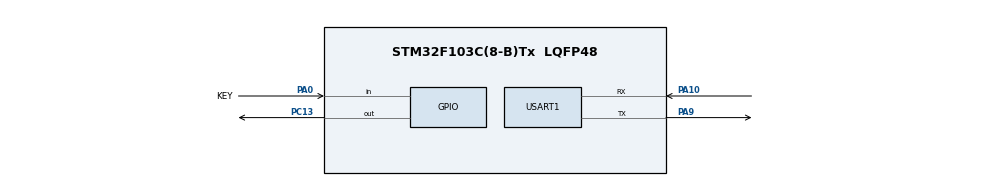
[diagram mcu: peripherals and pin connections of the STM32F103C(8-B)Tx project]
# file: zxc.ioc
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Mcu.Family=STM32F1
Mcu.Name=STM32F103C(8-B)Tx
Mcu.Package=LQFP48
NVIC.PriorityGroup=NVIC_PRIORITYGROUP_4
PA0-WKUP.GPIO_Label=KEY
PA0-WKUP.GPIO_PuPd=GPIO_PULLUP
PA0-WKUP.Signal=GPIO_Input
PA10.Mode=Asynchronous
PA10.Signal=USART1_RX
PA13.Mode=Serial_Wire
PA13.Signal=SYS_JTMS-SWDIO
PA14.Mode=Serial_Wire
PA14.Signal=SYS_JTCK-SWCLK
PA9.Mode=Asynchronous
PA9.Signal=USART1_TX
PC13-TAMPER-RTC.GPIO_Speed=GPIO_SPEED_FREQ_LOW
PC13-TAMPER-RTC.PinState=GPIO_PIN_SET
PC13-TAMPER-RTC.Signal=GPIO_Output
PD0-OSC_IN.Mode=HSE-External-Oscillator
PD0-OSC_IN.Signal=RCC_OSC_IN
PD1-OSC_OUT.Mode=HSE-External-Oscillator
PD1-OSC_OUT.Signal=RCC_OSC_OUT
ProjectManager.HeapSize=0x200
ProjectManager.StackSize=0x400
ProjectManager.TargetToolchain=STM32CubeIDE
RCC.APB1Freq_Value=8000000
RCC.APB2Freq_Value=8000000
USART1.VirtualMode=VM_ASYNC
board=custom

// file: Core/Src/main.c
/* USER CODE BEGIN Header */
/**
  ******************************************************************************
  * @file           : main.c
  * @brief          : Main program body
  ******************************************************************************
  * @attention
  *
  * Copyright (c) 2026 STMicroelectronics.
  * All rights reserved.
  *
  * This software is licensed under terms that can be found in the LICENSE file
  * in the root directory of this software component.
  * If no LICENSE file comes with this software, it is provided AS-IS.
  *
  ******************************************************************************
  */
/* USER CODE END Header */
#include "main.h"

/* USER CODE BEGIN Includes */
#include "log.h"
#include <stdio.h>
/* USER CODE END Includes */

UART_HandleTypeDef huart1;

void SystemClock_Config(void);
static void MX_GPIO_Init(void);
static void MX_USART1_UART_Init(void);

/* USER CODE BEGIN 0 */
/* LED 三档模式：0=常亮，1=慢闪，2=快闪 */
#define LED_MODE_ON   0
#define LED_MODE_SLOW 1
#define LED_MODE_FAST 2

#define SLOW_PERIOD 1000u   /* 慢闪：1 秒翻转一次 */
#define FAST_PERIOD 200u    /* 快闪：200 毫秒翻转一次 */

#define DEBOUNCE_MS 20u     /* 按键去抖窗口：电平稳定多久才认 */

/*
 * 两颗灯同时控制，方便对照观察：
 *   外接 LED：PA4 -- 68 欧电阻 -- LED 正极(长脚)，LED 负极(短脚) -- GND
 *             PA4 输出高电平 -> 点亮
 *   板载 LED：PC13，低电平点亮（板子上 PC13 和 LED 之间是灌电流接法）
 *             所以两颗灯的电平逻辑正好相反
 */
#define LED_A_PORT   GPIOA
#define LED_A_PIN    GPIO_PIN_4    /* 外接 LED，高电平亮 */

#define LED_B_PORT   GPIOC
#define LED_B_PIN    GPIO_PIN_13   /* 板载 LED，低电平亮 */

static uint8_t  led_mode      = LED_MODE_ON;
static uint32_t led_last_tick = 0;

/* PA4 在 .ioc 里没配，这里手动初始化成推挽输出；PC13 已由 MX_GPIO_Init 配好 */
static void LED_GPIO_Init(void)
{
    GPIO_InitTypeDef GPIO_InitStruct = {0};

    __HAL_RCC_GPIOA_CLK_ENABLE();

    GPIO_InitStruct.Pin   = LED_A_PIN;
    GPIO_InitStruct.Mode  = GPIO_MODE_OUTPUT_PP;
    GPIO_InitStruct.Pull  = GPIO_NOPULL;
    GPIO_InitStruct.Speed = GPIO_SPEED_FREQ_LOW;
    HAL_GPIO_Init(LED_A_PORT, &GPIO_InitStruct);

    /* 上电先都熄灭 */
    HAL_GPIO_WritePin(LED_A_PORT, LED_A_PIN, GPIO_PIN_RESET);
    HAL_GPIO_WritePin(LED_B_PORT, LED_B_PIN, GPIO_PIN_SET);
}

static void LED_On(void)
{
    HAL_GPIO_WritePin(LED_A_PORT, LED_A_PIN, GPIO_PIN_SET);    /* 外接：高电平亮 */
    HAL_GPIO_WritePin(LED_B_PORT, LED_B_PIN, GPIO_PIN_RESET);  /* 板载：低电平亮 */
}

static void LED_Off(void)
{
    HAL_GPIO_WritePin(LED_A_PORT, LED_A_PIN, GPIO_PIN_RESET);
    HAL_GPIO_WritePin(LED_B_PORT, LED_B_PIN, GPIO_PIN_SET);
}

static void LED_Toggle(void)
{
    HAL_GPIO_TogglePin(LED_A_PORT, LED_A_PIN);
    HAL_GPIO_TogglePin(LED_B_PORT, LED_B_PIN);
}

static void LED_Apply(void)
{
    /* 常亮档：保持点亮 */
    if (led_mode == LED_MODE_ON)
        LED_On();
}

static uint32_t LED_Period(void)
{
    return (led_mode == LED_MODE_FAST) ? FAST_PERIOD : SLOW_PERIOD;
}

/* 切换档位后调用：常亮档直接点亮，闪烁档交给主循环翻转 */
static void LED_EnterMode(void)
{
    led_last_tick = HAL_GetTick();
    if (led_mode == LED_MODE_ON)
        LED_On();
    else
        LED_Off();   /* 进入闪烁档时先熄灭，从暗开始闪，节奏更清楚 */
}

/* log.c 不认识串口：这里把「怎么把 n 个字节发出去」注入给它 */
static void log_uart_write(const char *s, uint16_t n)
{
    /* 用带小超时的阻塞发送：n 最多 512，8MHz 下 512 字节约 450ms，
       超时给到 1000ms 足够；这里不用阻塞大延时，只是等 UART 移位完 */
    HAL_UART_Transmit(&huart1, (uint8_t *)s, n, 1000);
}
/* USER CODE END 0 */

int main(void)
{

  /* MCU Configuration--------------------------------------------------------*/

  /* Reset of all peripherals, Initializes the Flash interface and the Systick. */
  HAL_Init();

  /* Configure the system clock */
  SystemClock_Config();

  /* Initialize all configured peripherals */
  MX_GPIO_Init();
  MX_USART1_UART_Init();
  /* USER CODE BEGIN 2 */
  LED_GPIO_Init();

  /* 日志库接上串口：注入发送函数、设运行期等级、打一条开机日志 */
  log_init(log_uart_write);
  log_set_level(LOG_DEBUG);
  LOG_I('M', "boot, level=%d", (int)log_get_level());
  /* USER CODE END 2 */
  /* Infinite loop */
  /* USER CODE BEGIN WHILE */
  led_last_tick = HAL_GetTick();
  LED_Apply();

  while (1)
  {
      uint32_t now = HAL_GetTick();

      /* 1) 读按键：A0 接按键一端，按键另一端接 GND，内部上拉
       *    松开 = GPIO_PIN_SET(1)，按下 = GPIO_PIN_RESET(0)
       *    去抖：电平变化后要稳定超过 DEBOUNCE_MS 才认，避免一次按下跳好几档
       */
      {
          static GPIO_PinState key_stable  = GPIO_PIN_SET;  /* 已确认的稳定电平 */
          static GPIO_PinState key_last    = GPIO_PIN_SET;  /* 上一次采样到的电平 */
          static uint32_t      key_tick    = 0;             /* 电平开始变化的时刻 */

          GPIO_PinState key_now = HAL_GPIO_ReadPin(KEY_GPIO_Port, KEY_Pin);

          if (key_now != key_last)
          {
              /* 电平刚发生变化，重新计时 */
              key_last = key_now;
              key_tick = now;
          }
          else if (key_now != key_stable && (now - key_tick >= DEBOUNCE_MS))
          {
              /* 新电平已经稳定超过窗口时间，认下来 */
              key_stable = key_now;

              if (key_stable == GPIO_PIN_RESET)   /* 按下沿：切档 */
              {
                  led_mode = (uint8_t)((led_mode + 1u) % 3u);
                  LED_EnterMode();

                  /* 只登记，不在这里发 —— 真正的发送交给循环末尾的 log_flush() */
                  LOG_I('M', "MODE=%d", (int)led_mode);
              }
          }
      }

      /* 2) 按当前档位的周期翻转 LED */
      if (led_mode != LED_MODE_ON && (now - led_last_tick >= LED_Period()))
      {
          led_last_tick = now;
          LED_Toggle();
      }

      /* 3) 把日志库里攒的这一批送出去 */
      log_flush();

    /* USER CODE END WHILE */

  }
}

void SystemClock_Config(void)
{
  RCC_OscInitTypeDef RCC_OscInitStruct = {0};
  RCC_ClkInitTypeDef RCC_ClkInitStruct = {0};

  /** Initializes the RCC Oscillators according to the specified parameters
  * in the RCC_OscInitTypeDef structure.
  */
  RCC_OscInitStruct.OscillatorType = RCC_OSCILLATORTYPE_HSI;
  RCC_OscInitStruct.HSIState = RCC_HSI_ON;
  RCC_OscInitStruct.HSICalibrationValue = RCC_HSICALIBRATION_DEFAULT;
  RCC_OscInitStruct.PLL.PLLState = RCC_PLL_NONE;
  if (HAL_RCC_OscConfig(&RCC_OscInitStruct) != HAL_OK)
  {
    Error_Handler();
  }

  /** Initializes the CPU, AHB and APB buses clocks
  */
  RCC_ClkInitStruct.ClockType = RCC_CLOCKTYPE_HCLK|RCC_CLOCKTYPE_SYSCLK
                              |RCC_CLOCKTYPE_PCLK1|RCC_CLOCKTYPE_PCLK2;
  RCC_ClkInitStruct.SYSCLKSource = RCC_SYSCLKSOURCE_HSI;
  RCC_ClkInitStruct.AHBCLKDivider = RCC_SYSCLK_DIV1;
  RCC_ClkInitStruct.APB1CLKDivider = RCC_HCLK_DIV1;
  RCC_ClkInitStruct.APB2CLKDivider = RCC_HCLK_DIV1;

  if (HAL_RCC_ClockConfig(&RCC_ClkInitStruct, FLASH_LATENCY_0) != HAL_OK)
  {
    Error_Handler();
  }
}

static void MX_USART1_UART_Init(void)
{

  huart1.Instance = USART1;
  huart1.Init.BaudRate = 115200;
  huart1.Init.WordLength = UART_WORDLENGTH_8B;
  huart1.Init.StopBits = UART_STOPBITS_1;
  huart1.Init.Parity = UART_PARITY_NONE;
  huart1.Init.Mode = UART_MODE_TX_RX;
  huart1.Init.HwFlowCtl = UART_HWCONTROL_NONE;
  huart1.Init.OverSampling = UART_OVERSAMPLING_16;
  if (HAL_UART_Init(&huart1) != HAL_OK)
  {
    Error_Handler();
  }

}

static void MX_GPIO_Init(void)
{
  GPIO_InitTypeDef GPIO_InitStruct = {0};

  /* GPIO Ports Clock Enable */
  __HAL_RCC_GPIOC_CLK_ENABLE();
  __HAL_RCC_GPIOD_CLK_ENABLE();
  __HAL_RCC_GPIOA_CLK_ENABLE();

  /*Configure GPIO pin Output Level */
  HAL_GPIO_WritePin(GPIOC, GPIO_PIN_13, GPIO_PIN_SET);

  /*Configure GPIO pin : PC13 */
  GPIO_InitStruct.Pin = GPIO_PIN_13;
  GPIO_InitStruct.Mode = GPIO_MODE_OUTPUT_PP;
  GPIO_InitStruct.Pull = GPIO_NOPULL;
  GPIO_InitStruct.Speed = GPIO_SPEED_FREQ_LOW;
  HAL_GPIO_Init(GPIOC, &GPIO_InitStruct);

  /*Configure GPIO pin : KEY_Pin */
  GPIO_InitStruct.Pin = KEY_Pin;
  GPIO_InitStruct.Mode = GPIO_MODE_INPUT;
  GPIO_InitStruct.Pull = GPIO_PULLUP;
  HAL_GPIO_Init(KEY_GPIO_Port, &GPIO_InitStruct);

}

void Error_Handler(void)
{
  __disable_irq();
  while (1)
  {
  }
}
